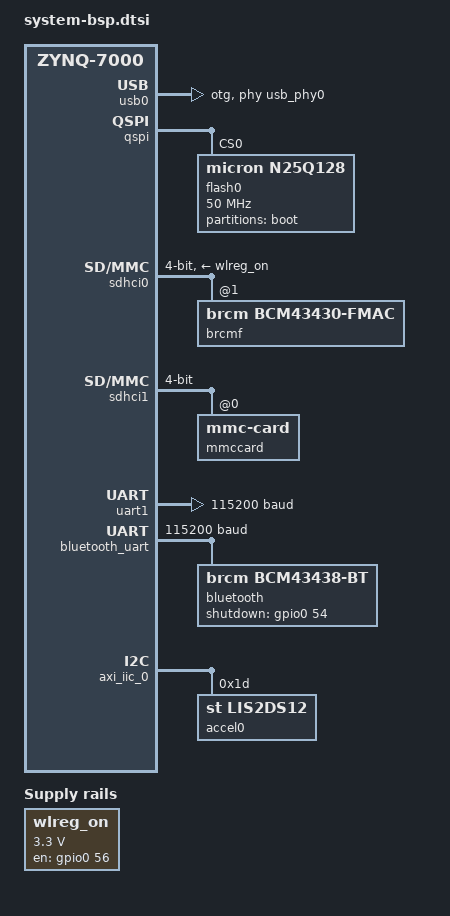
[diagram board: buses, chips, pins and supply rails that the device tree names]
#include "zynq-7000.dtsi"
#include "pl.dtsi"
#include "pcw.dtsi"
//#include "xilinx-vip.h"
/ {

    aliases {
        i2c0 = &axi_iic_0;
        serial0 = &uart1;
        serial1 = &uart0;
        serial2 = &bluetooth_uart;
        spi0 = &qspi;
    };

    /* WiFi Module:  WL_REG_ON GPIO Control */
    wlreg_on: wlreg-on {
        compatible = "regulator-fixed";
        regulator-name = "wlreg_on";
        enable-active-high;
        gpio = <&gpio0 56 0>;
        regulator-min-microvolt = <3300000>;
        regulator-max-microvolt = <3300000>;
        startup-delay-us = <100>;
    };

    // Uncomment this to use bcmdhd driver instead of brcmfmac driver:
    // bcmdhd_wlan_0: bcmdhd_wlan@0 {
    //     compatible = "android,bcmdhd_wlan";
    //     wlreg_on-supply = <&wlreg_on>;
    //     // gpios = <&gpio0 0 4>;  // OOB interrupts
    // };

    // NOTE: BT_REG_ON (EMIO[0] = gpio0 54) is driven directly by
    // the hci_bcm driver via shutdown-gpios in the &bluetooth_uart
    // node below.  Do NOT declare a btreg_on regulator on the same
    // GPIO -- it would claim the line and stop hci_bcm from
    // power-sequencing the chip.
};

/{
    usb_phy0: usb_phy@0 {
        compatible = "ulpi-phy";
        #phy-cells = <0>;
        reg = <0xe0002000 0x1000>;
        view-port = <0x0170>;
        drv-vbus;
    };
};

&usb0 {
    dr_mode = "otg";
    usb-phy = <&usb_phy0>;
} ;

/* QSPI addresses are defined with petalinux-config, but here they are overwritten so that one can program the flash internally */
&qspi {
    #address-cells = <1>;
    #size-cells = <0>;
    flash0: flash@0 {
        compatible = "micron,m25p80";
        reg = <0x0>;
        #address-cells = <1>;
        #size-cells = <1>;
        spi-max-frequency = <50000000>;
        partition@0 {
            label = "boot";
            reg = <0x00000000 0x00ff0000>;
        };
    };
};

/* SD Interface for Wi-Fi Module */
&sdhci0 {
    status = "okay";
    bus-width= <4>;
    xlnx,has-cd = <0x0>;
    xlnx,has-power = <0x0>;
    xlnx,has-wp = <0x0>;
    non-removeable;
    broken-cd;
    vmmc-supply = <&wlreg_on>;  /* Uncomment for brcmfmac */
    /* wifi-host; */ /* uncomment for bcmdhd */


        brcmf: brcmf@1 {
        status = "okay";
                reg = <1>;
                compatible = "brcm,bcm43430-fmac";
        /* interrupt-parent = <&gpio0>; */ /* For WL_HOST_WAKE OOB Interrupt */
        /* interrupts = <0 29 8>; */  /* PL-PS direct interrupt, Low Level */
        /* interrupts = <57 8>; */ /* GPIO EMIO 3, Low Level */
        /* interrupt-names = "host-wake"; */
    };
};

/* SD Interface for eMMC */
&sdhci1 {
    status = "okay";
    non-removeable;
    bus-width= <4>;
    xlnx,has-cd = <0x0>;
    xlnx,has-power = <0x0>;
    xlnx,has-wp = <0x0>;

    mmccard: mmccard@0 {
        reg = <0>;
        compatible = "mmc-card";
        broken-hpi;
    };
};

/* Console UART.  UART1 is tied to the USB serial port on the Zedboard */
&uart1 {
    status = "okay";
    current-speed = <115200>;
    port-number = <0>;
};


&bluetooth_uart {
    status = "okay";
    /*
     * Boot at 115200; hci_bcm will switch the chip to max-speed
     * AFTER firmware (BCM43430A1.hcd) is downloaded.
     */
    current-speed = <115200>;
    uart-has-rtscts;
    port-number = <2>;

    bluetooth {
        /*
         * The Murata 1DX uses a Cypress/Infineon CYW43430A1.
         * Upstream hci_bcm matches "brcm,bcm43438-bt" for this die.
         * Keep "brcm,bcm43430-bt" as fallback in case the Xilinx
         * kernel carries a vendor patch for that string.
         */
        compatible = "brcm,bcm43438-bt", "brcm,bcm43430-bt";

        /* BT_REG_ON -- active high, driven by hci_bcm */
        shutdown-gpios = <&gpio0 54 0>;

        /* Operating speed after firmware download */
        max-speed = <3000000>;
    };
};


/* AXI IIC.  Interfaces with the ST LIS2DS12 accelerometer */
&axi_iic_0 {
    status = "okay";

    /* MiniZed doesn't support interrupts from the accelerometer */
        accel0: lis2ds12@1d {
            compatible = "st,lis2ds12";
            reg = <0x1d>;
        };

};


&flash0 {
    compatible = "micron,n25q128", "jedec,spi-nor";
};


&amba {
        /delete-node/ ptm@f889d000 ;

        funnel@f8804000 {
                in-ports {
                      /delete-node/ port@1 ;
                };
        };
};

/*
 * Hardware path:
 *
 *   m_axis_0  --AXI4-Stream-->  axi_vdma_0 S2MM  --M_AXI_S2MM-->
 *   axi_mem_intercon  -->  PS S_AXI_HP0  -->  DDR
 *
 * PLACEMENT: this block references &axi_vdma_0, which is defined by the
 * autogenerated pl.dtsi.  It therefore has to sit *after* the
 * #include "pl.dtsi" at the top of this file -- keep it last.  pl.dtsi is
 * regenerated from the XSA on every hardware build; this file is not, so the
 * node survives a rebuild as long as the flow's system_bsp_dtsi points here.
 *
 * WHY A PLAIN NODE AND NOT AN "xlnx,video" VIPP GRAPH:
 * m_axis_0 has no AXI-Lite interface.  It free-runs from reset, emitting
 * tuser as SOF and tlast as EOL, so there is no subdev to negotiate a format
 * with and xilinx-vipp would never finish building its media graph.  The node
 * below is bound by the sw/modules/vpatt-v4l2 driver, which claims the VDMA
 * S2MM channel through dmaengine and exposes a fixed-format /dev/videoN.
 *
 * DMA CHANNEL INDEX -- must be 1, not 0.  The index is NOT the position of
 * the dma-channel child node; xilinx_dma.c assigns it by direction:
 *
 *     xdev->s2mm_chan_id = xdev->dma_config->max_channels / 2;   -- = 1
 *     chan->id = xdev->s2mm_chan_id++;                           -- S2MM
 *
 * VDMA has max_channels = 2, so MM2S is always chan[0] and S2MM is always
 * chan[1] -- even here, where MM2S is excluded (C_INCLUDE_MM2S = 0) and
 * chan[0] therefore stays NULL.  With <&axi_vdma_0 0>, of_dma_xilinx_xlate()
 * hits that NULL and returns -ENODEV from dma_request_chan().
 *
 * GEOMETRY: must track the m_axis_0 generics (H_RES, V_RES, TDATA_WIDTH).
 * The core drives tdata = {8'h00, red[7:0], green[7:0], blue[7:0]}, which
 * reaches memory little-endian as B, G, R, X -- V4L2_PIX_FMT_XBGR32 ('XR24'),
 * 4 bytes/pixel, bytesperline = 640 * 4 = 2560, sizeimage = 1228800.
 * Change these and the RTL generics together, or the VDMA will be programmed
 * for a frame size the fabric does not produce.
 *
 * Kept at the root rather than inside &amba_pl so it resolves whether pl.dtsi
 * was generated in its static (amba_pl node) or overlay (/plugin/) form.
 */

/*
 * Dedicated CMA pool for the capture buffers.
 *
 * The global 16 MiB pool fragments in normal use and cannot be relied on:
 * a 640x480x4 frame is 1228800 bytes = 300 pages, and dma_alloc_contiguous()
 * aligns it to min(get_order(size), CONFIG_CMA_ALIGNMENT) = 8, i.e. 256 pages
 * (1 MiB).  Once the global pool is chopped up, the largest free run can still
 * be >300 pages yet contain no 1 MiB-aligned 300-page window, and the alloc
 * fails with -EBUSY even though several MiB are nominally free.
 *
 * A private region sidesteps that entirely.  "reusable" lets the kernel hand
 * these pages to movable allocations while we are idle, so nothing is wasted
 * when the camera is closed.  Do NOT add "no-map" (rmem_cma_setup() rejects
 * it) and do NOT add "linux,cma-default" (that would hijack the system-wide
 * pool).  base and size must be CMA_MIN_ALIGNMENT_BYTES aligned, hence the
 * explicit 1 MiB alignment; no "reg" is given so the kernel places it.
 *
 * 8 MiB holds six 1.2 MiB buffers; the driver asks for three.
 */
/ {
    reserved-memory {
        #address-cells = <1>;
        #size-cells = <1>;
        ranges;

        vpatt_cma: vpatt-buffers {
            compatible = "shared-dma-pool";
            reusable;
            size = <0x800000>;
            alignment = <0x100000>;
        };
    };

    video_cap: video-capture {
        compatible = "minized,vpatt-v4l2-1.0";

        dmas = <&axi_vdma_0 1>;
        dma-names = "s2mm";

        memory-region = <&vpatt_cma>;

        minized,width  = <640>;
        minized,height = <480>;
    };
};
